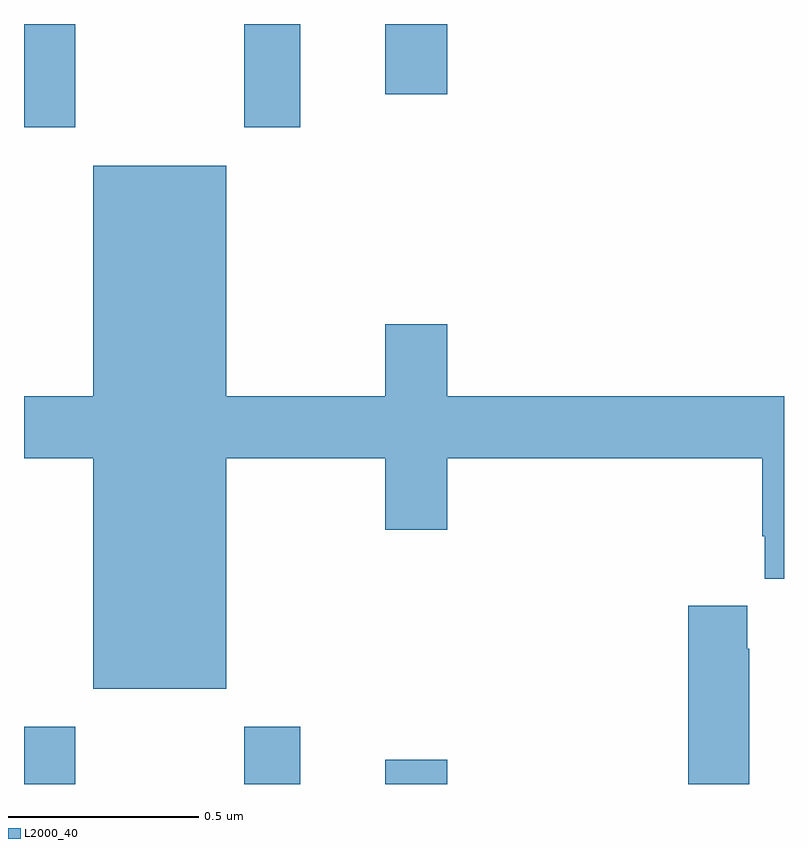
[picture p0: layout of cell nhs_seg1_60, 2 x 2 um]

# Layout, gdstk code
import gdstk
lib = gdstk.Library(unit=1e-6, precision=1e-09)
def R(c, l, rs):  # rectangles x0, y0, x1, y1
    for r in rs: c.add(gdstk.rectangle(r[:2], r[2:], *l))
def P(c, l, *ps):  # polygons
    for p in ps: c.add(gdstk.Polygon(p, *l))
L2000_40 = (2000, 40)

nhs_seg1_60 = lib.new_cell('nhs_seg1_60')
R(nhs_seg1_60, L2000_40, [(111,560.199,111.135,560.35), (111.58,560.199,111.727,560.35), (111.95,560.199,112.114,560.263), (111,561.927,111.135,562.199), (111.58,561.927,111.727,562.199), (111.95,562.014,112.114,562.199)])
P(nhs_seg1_60, L2000_40, [(111.532,561.056),(111.95,561.056),(111.95,560.868),(112.114,560.868),(112.114,561.056),(112.943,561.056),(112.943,560.851),(112.949,560.851),(112.949,560.739),(113,560.739),(113,561.22),(112.114,561.22),(112.114,561.409),(111.95,561.409),(111.95,561.22),(111.532,561.22),(111.532,561.826),(111.182,561.826),(111.182,561.22),(111,561.22),(111,561.056),(111.182,561.056),(111.182,560.45),(111.532,560.45)],
  [(112.908,560.555),(112.903,560.555),(112.903,560.668),(112.748,560.668),(112.748,560.199),(112.908,560.199)])

lib.write_gds('nhs_seg1_60.gds')
